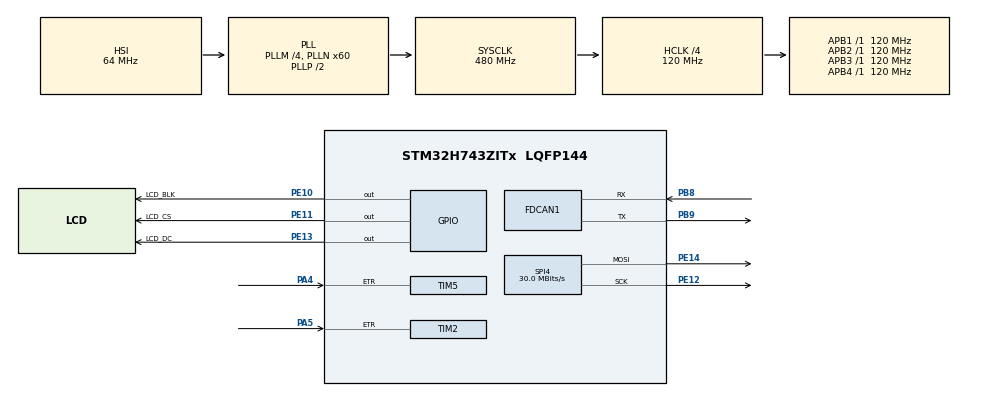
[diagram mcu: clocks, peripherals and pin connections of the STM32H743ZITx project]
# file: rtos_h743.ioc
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CORTEX_M7.Enable_Spec=__NULL
CORTEX_M7.default_mode_Activation=1
FDCAN1.AutoRetransmission=ENABLE
FDCAN1.CalculateBaudRateNominal=1000000
FDCAN1.CalculateTimeBitNominal=1000
FDCAN1.CalculateTimeQuantumNominal=12.5
FDCAN1.DataPrescaler=2
FDCAN1.DataSyncJumpWidth=4
FDCAN1.DataTimeSeg1=15
FDCAN1.DataTimeSeg2=4
FDCAN1.FrameFormat=FDCAN_FRAME_FD_BRS
FDCAN1.NominalPrescaler=1
FDCAN1.NominalSyncJumpWidth=16
FDCAN1.NominalTimeSeg1=63
FDCAN1.NominalTimeSeg2=16
FDCAN1.RxBufferSize=FDCAN_DATA_BYTES_64
FDCAN1.RxFifo0ElmtSize=FDCAN_DATA_BYTES_64
FDCAN1.RxFifo0ElmtsNbr=8
FDCAN1.RxFifo1ElmtSize=FDCAN_DATA_BYTES_64
FDCAN1.TxElmtSize=FDCAN_DATA_BYTES_64
FDCAN1.TxFifoQueueElmtsNbr=4
FREERTOS.Tasks01=defaultTask,8,256,StartDefaultTask,Default,NULL,Dynamic,NULL,NULL;CANTransmitTask,24,1024,CANTransmit,Default,NULL,Dynamic,NULL,NULL;DisplayTask,8,1024,RefreshDisplay,Default,NULL,Dynamic,NULL,NULL;IMUTask,24,512,IMURead,Default,NULL,Dynamic,NULL,NULL;SpeedometerTask,16,256,SpeedometerRead,Default,NULL,Dynamic,NULL,NULL;TachometerTask,16,256,TachometerRead,Default,NULL,Dynamic,NULL,NULL;TemperatureTask,16,256,TemperatureRead,Default,NULL,Dynamic,NULL,NULL
FREERTOS.configENABLE_FPU=1
FREERTOS.configMINIMAL_STACK_SIZE=256
FREERTOS.configTICK_RATE_HZ=1000
FREERTOS.configTOTAL_HEAP_SIZE=65536
Mcu.Family=STM32H7
Mcu.Name=STM32H743ZITx
Mcu.Package=LQFP144
NVIC.FDCAN1_IT0_IRQn=true\:5\:0\:false\:false\:true\:true\:true\:true\:true
NVIC.FDCAN1_IT1_IRQn=true\:5\:0\:false\:false\:true\:true\:true\:true\:true
NVIC.PriorityGroup=NVIC_PRIORITYGROUP_4
NVIC.TIM6_DAC_IRQn=true\:15\:0\:false\:false\:true\:false\:false\:true\:true
NVIC.TimeBase=TIM6_DAC_IRQn
NVIC.TimeBaseIP=TIM6
PA4.GPIO_PuPd=GPIO_PULLUP
PA4.Signal=S_TIM5_ETR
PA5.GPIO_PuPd=GPIO_NOPULL
PA5.Signal=S_TIM2_CH1_ETR
PB8.GPIO_PuPd=GPIO_PULLUP
PB8.GPIO_Speed=GPIO_SPEED_FREQ_VERY_HIGH
PB8.Mode=FDCAN_Activate
PB8.Signal=FDCAN1_RX
PB9.GPIO_Speed=GPIO_SPEED_FREQ_VERY_HIGH
PB9.Mode=FDCAN_Activate
PB9.Signal=FDCAN1_TX
PE10.GPIO_Label=LCD_BLK
PE10.GPIO_Speed=GPIO_SPEED_FREQ_VERY_HIGH
PE10.Signal=GPIO_Output
PE11.GPIO_Label=LCD_CS
PE11.GPIO_Speed=GPIO_SPEED_FREQ_VERY_HIGH
PE11.PinState=GPIO_PIN_RESET
PE11.Signal=GPIO_Output
PE12.GPIO_Speed=GPIO_SPEED_FREQ_VERY_HIGH
PE12.Mode=TX_Only_Simplex_Unidirect_Master
PE12.Signal=SPI4_SCK
PE13.GPIO_Label=LCD_DC
PE13.GPIO_Speed=GPIO_SPEED_FREQ_VERY_HIGH
PE13.Signal=GPIO_Output
PE14.GPIO_Speed=GPIO_SPEED_FREQ_VERY_HIGH
PE14.Mode=TX_Only_Simplex_Unidirect_Master
PE14.Signal=SPI4_MOSI
ProjectManager.HeapSize=0x200
ProjectManager.StackSize=0x400
ProjectManager.TargetToolchain=CMake
RCC.ADCFreq_Value=80000000
RCC.APB1Freq_Value=120000000
RCC.APB2Freq_Value=120000000
RCC.APB3Freq_Value=120000000
RCC.APB4Freq_Value=120000000
RCC.CortexFreq_Value=480000000
RCC.DIVM1=4
RCC.DIVM2=4
RCC.DIVN1=60
RCC.DIVN2=10
RCC.DIVQ1=8
RCC.FDCANCLockSelection=RCC_FDCANCLKSOURCE_PLL2
RCC.HCLKFreq_Value=120000000
RCC.HPRE=RCC_HCLK_DIV4
RCC.SYSCLKFreq_VALUE=480000000
RCC.SYSCLKSource=RCC_SYSCLKSOURCE_PLLCLK
RCC.USBFreq_Value=120000000
SH.S_TIM2_CH1_ETR.0=TIM2_ETR,TriggerSource_ETR
SH.S_TIM5_ETR.0=TIM5_ETR,TriggerSource_ETR
SPI4.BaudRatePrescaler=SPI_BAUDRATEPRESCALER_4
SPI4.CalculateBaudRate=30.0 MBits/s
SPI4.DataSize=SPI_DATASIZE_8BIT
SPI4.Direction=SPI_DIRECTION_2LINES_TXONLY
SPI4.Mode=SPI_MODE_MASTER
SPI4.NSSPMode=SPI_NSS_PULSE_DISABLE
SPI4.VirtualType=VM_MASTER
TIM2.Slave_TriggerFilter=15
TIM5.Slave_TriggerFilter=15
VP_FREERTOS_VS_CMSIS_V2.Mode=CMSIS_V2
VP_MEMORYMAP_VS_MEMORYMAP.Mode=CurAppReg
VP_SYS_VS_tim6.Mode=TIM6
VP_TIM2_VS_ControllerModeClock.Mode=Clock Mode
VP_TIM5_VS_ControllerModeClock.Mode=Clock Mode
board=custom

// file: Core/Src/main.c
/* USER CODE BEGIN Header */
/**
  ******************************************************************************
  * @file           : main.c
  * @brief          : Main program body
  ******************************************************************************
  * @attention
  *
  * Copyright (c) 2026 STMicroelectronics.
  * All rights reserved.
  *
  * This software is licensed under terms that can be found in the LICENSE file
  * in the root directory of this software component.
  * If no LICENSE file comes with this software, it is provided AS-IS.
  *
  ******************************************************************************
  */
/* USER CODE END Header */
#include "main.h"
#include "FreeRTOS.h"
#include "cmsis_os2.h"
#include "fdcan.h"
#include "spi.h"
#include "tim.h"
#include "gpio.h"

/* USER CODE BEGIN Includes */
#include "st7735.h"
/* USER CODE END Includes */

void SystemClock_Config(void);
static void MPU_Config(void);
void MX_FREERTOS_Init(void);

int main(void)
{

  /* MPU Configuration--------------------------------------------------------*/
  MPU_Config();

  /* MCU Configuration--------------------------------------------------------*/

  /* Reset of all peripherals, Initializes the Flash interface and the Systick. */
  HAL_Init();

  /* USER CODE BEGIN Init */

  // SystemView DWT Cycle Counter
  CoreDebug->DEMCR |= CoreDebug_DEMCR_TRCENA_Msk;
  DWT->LAR = 0xC5ACCE55;
  DWT->CYCCNT = 0;
  DWT->CTRL |= DWT_CTRL_CYCCNTENA_Msk;

  /* USER CODE END Init */

  /* Configure the system clock */
  SystemClock_Config();

  /* Initialize all configured peripherals */
  MX_GPIO_Init();
  MX_FDCAN1_Init();
  MX_SPI4_Init();
  MX_TIM5_Init();
  MX_TIM2_Init();

  /* Init scheduler */
  osKernelInitialize();  /* Call init function for freertos objects (in cmsis_os2.c) */
  MX_FREERTOS_Init();

  /* Start scheduler */
  osKernelStart();

  /* We should never get here as control is now taken by the scheduler */

  /* Infinite loop */
  while (1)
  {

  }
}

void SystemClock_Config(void)
{
  RCC_OscInitTypeDef RCC_OscInitStruct = {0};
  RCC_ClkInitTypeDef RCC_ClkInitStruct = {0};

  /** Supply configuration update enable
  */
  HAL_PWREx_ConfigSupply(PWR_LDO_SUPPLY);

  /** Configure the main internal regulator output voltage
  */
  __HAL_PWR_VOLTAGESCALING_CONFIG(PWR_REGULATOR_VOLTAGE_SCALE0);

  while(!__HAL_PWR_GET_FLAG(PWR_FLAG_VOSRDY)) {}

  /** Initializes the RCC Oscillators according to the specified parameters
  * in the RCC_OscInitTypeDef structure.
  */
  RCC_OscInitStruct.OscillatorType = RCC_OSCILLATORTYPE_HSI;
  RCC_OscInitStruct.HSIState = RCC_HSI_DIV1;
  RCC_OscInitStruct.HSICalibrationValue = RCC_HSICALIBRATION_DEFAULT;
  RCC_OscInitStruct.PLL.PLLState = RCC_PLL_ON;
  RCC_OscInitStruct.PLL.PLLSource = RCC_PLLSOURCE_HSI;
  RCC_OscInitStruct.PLL.PLLM = 4;
  RCC_OscInitStruct.PLL.PLLN = 60;
  RCC_OscInitStruct.PLL.PLLP = 2;
  RCC_OscInitStruct.PLL.PLLQ = 8;
  RCC_OscInitStruct.PLL.PLLR = 2;
  RCC_OscInitStruct.PLL.PLLRGE = RCC_PLL1VCIRANGE_3;
  RCC_OscInitStruct.PLL.PLLVCOSEL = RCC_PLL1VCOWIDE;
  RCC_OscInitStruct.PLL.PLLFRACN = 0;
  if (HAL_RCC_OscConfig(&RCC_OscInitStruct) != HAL_OK)
  {
    Error_Handler();
  }

  /** Initializes the CPU, AHB and APB buses clocks
  */
  RCC_ClkInitStruct.ClockType = RCC_CLOCKTYPE_HCLK|RCC_CLOCKTYPE_SYSCLK
                              |RCC_CLOCKTYPE_PCLK1|RCC_CLOCKTYPE_PCLK2
                              |RCC_CLOCKTYPE_D3PCLK1|RCC_CLOCKTYPE_D1PCLK1;
  RCC_ClkInitStruct.SYSCLKSource = RCC_SYSCLKSOURCE_PLLCLK;
  RCC_ClkInitStruct.SYSCLKDivider = RCC_SYSCLK_DIV1;
  RCC_ClkInitStruct.AHBCLKDivider = RCC_HCLK_DIV4;
  RCC_ClkInitStruct.APB3CLKDivider = RCC_APB3_DIV1;
  RCC_ClkInitStruct.APB1CLKDivider = RCC_APB1_DIV1;
  RCC_ClkInitStruct.APB2CLKDivider = RCC_APB2_DIV1;
  RCC_ClkInitStruct.APB4CLKDivider = RCC_APB4_DIV1;

  if (HAL_RCC_ClockConfig(&RCC_ClkInitStruct, FLASH_LATENCY_1) != HAL_OK)
  {
    Error_Handler();
  }
}

 /* MPU Configuration */

void MPU_Config(void)
{

  /* Disables the MPU */
  HAL_MPU_Disable();

  /* Enables the MPU */
  HAL_MPU_Enable(MPU_PRIVILEGED_DEFAULT);

}

void HAL_TIM_PeriodElapsedCallback(TIM_HandleTypeDef *htim)
{
  if (htim->Instance == TIM6)
  {
    HAL_IncTick();
  }
}

void Error_Handler(void)
{
  __disable_irq();
  for (;;){}
}

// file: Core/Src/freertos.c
/* USER CODE BEGIN Header */
/**
  ******************************************************************************
  * File Name          : freertos.c
  * Description        : Code for freertos applications
  ******************************************************************************
  * @attention
  *
  * Copyright (c) 2026 STMicroelectronics.
  * All rights reserved.
  *
  * This software is licensed under terms that can be found in the LICENSE file
  * in the root directory of this software component.
  * If no LICENSE file comes with this software, it is provided AS-IS.
  *
  ******************************************************************************
  */
/* USER CODE END Header */

#include "FreeRTOS.h"
#include "task.h"
#include "main.h"
#include "FreeRTOS.h"
#include "cmsis_os2.h"

/* USER CODE BEGIN Includes */
#include <string.h>
#include <math.h>
#include <stdio.h>

#include "FreeRTOSConfig.h"
#include "SEGGER_RTT.h"
#include "st7735.h"
#include "roxy.h"
#include "tim.h"
/* USER CODE END Includes */

/* USER CODE BEGIN PD */
_Static_assert(configTICK_RATE_HZ == 1000, "CAN scheduler assumes a 1 kHz tick");

#define SPEED_PULSES_PER_REV 1u
#define SPEED_WHEEL_CIRCUMFERENCE 1.963f // in meters
#define SPEED_TIMEOUT 2000u // in milliseconds
#define SPEED_SMOOTHING  300.0f

#define TACH_PULSES_PER_REV  1.0f
#define TACH_TIMEOUT         1000u     // in milliseconds
#define TACH_SMOOTHING       150.0f
#define TACH_MAX_RPM         20000.0f
/* USER CODE END PD */

/* USER CODE BEGIN Variables */
extern FDCAN_HandleTypeDef hfdcan1;

static struct roxy_rear_fast_t   g_fast;
static struct roxy_rear_medium_t g_medium;
static struct roxy_rear_slow_t   g_slow;

static FDCAN_TxHeaderTypeDef g_txHdr = {
  .IdType              = FDCAN_STANDARD_ID,
  .TxFrameType         = FDCAN_DATA_FRAME,
  .ErrorStateIndicator = FDCAN_ESI_ACTIVE,
  .BitRateSwitch       = FDCAN_BRS_ON,
  .FDFormat            = FDCAN_FD_CAN,
  .TxEventFifoControl  = FDCAN_NO_TX_EVENTS,
  .MessageMarker       = 0
};

volatile float speed;
volatile float rpm;
/* USER CODE END Variables */
/* Definitions for defaultTask */
osThreadId_t defaultTaskHandle;
const osThreadAttr_t defaultTask_attributes = {
  .name = "defaultTask",
  .stack_size = 256 * 4,
  .priority = (osPriority_t) osPriorityLow,
};
/* Definitions for CANTransmitTask */
osThreadId_t CANTransmitTaskHandle;
const osThreadAttr_t CANTransmitTask_attributes = {
  .name = "CANTransmitTask",
  .stack_size = 1024 * 4,
  .priority = (osPriority_t) osPriorityNormal,
};
/* Definitions for DisplayTask */
osThreadId_t DisplayTaskHandle;
const osThreadAttr_t DisplayTask_attributes = {
  .name = "DisplayTask",
  .stack_size = 1024 * 4,
  .priority = (osPriority_t) osPriorityLow,
};
/* Definitions for IMUTask */
osThreadId_t IMUTaskHandle;
const osThreadAttr_t IMUTask_attributes = {
  .name = "IMUTask",
  .stack_size = 512 * 4,
  .priority = (osPriority_t) osPriorityNormal,
};
/* Definitions for SpeedometerTask */
osThreadId_t SpeedometerTaskHandle;
const osThreadAttr_t SpeedometerTask_attributes = {
  .name = "SpeedometerTask",
  .stack_size = 256 * 4,
  .priority = (osPriority_t) osPriorityBelowNormal,
};
/* Definitions for TachometerTask */
osThreadId_t TachometerTaskHandle;
const osThreadAttr_t TachometerTask_attributes = {
  .name = "TachometerTask",
  .stack_size = 256 * 4,
  .priority = (osPriority_t) osPriorityBelowNormal,
};
/* Definitions for TemperatureTask */
osThreadId_t TemperatureTaskHandle;
const osThreadAttr_t TemperatureTask_attributes = {
  .name = "TemperatureTask",
  .stack_size = 256 * 4,
  .priority = (osPriority_t) osPriorityBelowNormal,
};

/* USER CODE BEGIN FunctionPrototypes */
static void     Roxy_Copy(void *dst, const void *src, size_t n);
static void     CAN_Tx(uint32_t id, const uint8_t *buf, int len, int idx);
static uint32_t len_to_dlc(uint8_t n);
static float    wave(float t, float hz, float phase);
static void fake_imu(int16_t *ax, int16_t *ay, int16_t *az,
                     int16_t *gx, int16_t *gy, int16_t *gz, float t, float phase,
                     int imu_select);
void Roxy_UpdateFast(const struct roxy_rear_fast_t *s);
void Roxy_UpdateSlow(const struct roxy_rear_slow_t *s);
void Roxy_SetSpeedometer(uint16_t raw);
void Roxy_SetTachometer(uint16_t raw);

static float smooth(float current, float target, float dt_ms, float tau_ms);
/* USER CODE END FunctionPrototypes */

void StartDefaultTask(void *argument);
void CANTransmit(void *argument);
void RefreshDisplay(void *argument);
void IMURead(void *argument);
void SpeedometerRead(void *argument);
void TachometerRead(void *argument);
void TemperatureRead(void *argument);

void MX_FREERTOS_Init(void); /* (MISRA C 2004 rule 8.1) */

void MX_FREERTOS_Init(void) {
  /* USER CODE BEGIN Init */

  // SystemView Init
  SEGGER_SYSVIEW_Conf();

  /* USER CODE END Init */

  /* Create the thread(s) */
  /* creation of defaultTask */
  defaultTaskHandle = osThreadNew(StartDefaultTask, NULL, &defaultTask_attributes);

  /* creation of CANTransmitTask */
  CANTransmitTaskHandle = osThreadNew(CANTransmit, NULL, &CANTransmitTask_attributes);

  /* creation of DisplayTask */
  DisplayTaskHandle = osThreadNew(RefreshDisplay, NULL, &DisplayTask_attributes);

  /* creation of IMUTask */
  IMUTaskHandle = osThreadNew(IMURead, NULL, &IMUTask_attributes);

  /* creation of SpeedometerTask */
  SpeedometerTaskHandle = osThreadNew(SpeedometerRead, NULL, &SpeedometerTask_attributes);

  /* creation of TachometerTask */
  TachometerTaskHandle = osThreadNew(TachometerRead, NULL, &TachometerTask_attributes);

  /* creation of TemperatureTask */
  TemperatureTaskHandle = osThreadNew(TemperatureRead, NULL, &TemperatureTask_attributes);

}

void StartDefaultTask(void *argument)
{
  /* USER CODE BEGIN StartDefaultTask */

  // SystemView Start
  CoreDebug->DEMCR |= CoreDebug_DEMCR_TRCENA_Msk; // Enable Trace
  DWT->CYCCNT = 0;                                // Reset Cycle Counter
  DWT->CTRL |= DWT_CTRL_CYCCNTENA_Msk;

  SEGGER_SYSVIEW_Start();

  /* Infinite loop */
  for(;;)
  {
    osDelay(100);
  }
  /* USER CODE END StartDefaultTask */
}

void CANTransmit(void *argument)
{
  /* USER CODE BEGIN CANTransmit */
  HAL_FDCAN_ConfigTxDelayCompensation(&hfdcan1,
        hfdcan1.Init.DataPrescaler * hfdcan1.Init.DataTimeSeg1, 0);
  HAL_FDCAN_EnableTxDelayCompensation(&hfdcan1);
  HAL_FDCAN_Start(&hfdcan1);

  uint8_t payload[64] = {0};
  struct roxy_rear_fast_t   fast;
  struct roxy_rear_medium_t medium;
  struct roxy_rear_slow_t   slow;
  uint32_t tick = osKernelGetTickCount();

  for (uint32_t slot = 0;; slot = (slot + 1) % 100)
  {
    osDelayUntil(++tick);

    Roxy_Copy(&fast, &g_fast, sizeof fast);
    CAN_Tx(ROXY_REAR_FAST_FRAME_ID, payload,
           roxy_rear_fast_pack(payload, &fast, sizeof payload), 0);

    if (slot % 10 == 0) {
      Roxy_Copy(&medium, &g_medium, sizeof medium);
      CAN_Tx(ROXY_REAR_MEDIUM_FRAME_ID, payload,
             roxy_rear_medium_pack(payload, &medium, sizeof payload), 1);
    }

    if (slot == 1) {
      Roxy_Copy(&slow, &g_slow, sizeof slow);
      CAN_Tx(ROXY_REAR_SLOW_FRAME_ID, payload,
             roxy_rear_slow_pack(payload, &slow, sizeof payload), 2);
    }
  }
  /* USER CODE END CANTransmit */
}

void RefreshDisplay(void *argument)
{
  /* USER CODE BEGIN RefreshDisplay */
  // Init Display
  HAL_GPIO_WritePin(LCD_BLK_GPIO_Port, LCD_BLK_Pin, GPIO_PIN_RESET);
  ST7735_Init();
  ST7735_FillScreen(ST7735_BLACK);

  char buf[16];
  /* Infinite loop */
  for(;;)
  {
    snprintf(buf, sizeof buf, "%4u km/h", (unsigned)(speed + 0.5f));
    ST7735_WriteString(8, 8, buf, Font_16x26, ST7735_WHITE, ST7735_BLACK);
    snprintf(buf, sizeof buf, "%4u rpm", (unsigned)(rpm + 0.5f));
    ST7735_WriteString(8, 42, buf, Font_16x26, ST7735_WHITE, ST7735_BLACK);
    osDelay(100);
  }
  /* USER CODE END RefreshDisplay */
}

void IMURead(void *argument)
{
  /* USER CODE BEGIN IMURead */
  struct roxy_rear_fast_t s = {0};
  uint32_t tick = osKernelGetTickCount();
  for (;;)
  {
    osDelayUntil(++tick);
    float t = (float)tick * 0.001f;

    fake_imu(&s.accel_x_l, &s.accel_y_l, &s.accel_z_l,
             &s.gyro_x_l,  &s.gyro_y_l,  &s.gyro_z_l, t, 0.0f, 0);
    fake_imu(&s.accel_x_r, &s.accel_y_r, &s.accel_z_r,
             &s.gyro_x_r,  &s.gyro_y_r,  &s.gyro_z_r, t, 1.0f, 1);
    fake_imu(&s.accel_x_c, &s.accel_y_c, &s.accel_z_c,
             &s.gyro_x_c,  &s.gyro_y_c,  &s.gyro_z_c, t, 2.0f, 2);

    Roxy_UpdateFast(&s);
  }
  /* USER CODE END IMURead */
}

void SpeedometerRead(void *argument)
{
  /* USER CODE BEGIN SpeedometerRead */
  HAL_TIM_Base_Start(&htim5);

  uint32_t last_count = __HAL_TIM_GET_COUNTER(&htim5);
  uint32_t last_ms    = osKernelGetTickCount();
  float   kph      = 0.0f;
  float   smoothed = 0.0f;
  float   out      = 0.0f;
  uint8_t have_ref = 0;
  uint32_t prev_ms = osKernelGetTickCount();

  for (;;)
  {
    osDelay(1);

    uint32_t now = osKernelGetTickCount();
    uint32_t count = __HAL_TIM_GET_COUNTER(&htim5);
    uint32_t change   = count - last_count;

    if (change) {
      if (have_ref) {
        float hz = (float)change * 1000.0f / (float)(now - last_ms);
        smoothed = hz * 0.2f + smoothed * 0.8f;
        kph = smoothed / SPEED_PULSES_PER_REV * SPEED_WHEEL_CIRCUMFERENCE * 3.6f;
        if (kph > 150.0f) kph = 150.0f;
      }
      have_ref   = 1;
      last_count = count;
      last_ms    = now;
    } else if (now - last_ms > SPEED_TIMEOUT) {
      kph = 0.0f;
      smoothed = 0.0f;
      have_ref = 0;
    }

    out = smooth(out, kph, (float)(now - prev_ms), SPEED_SMOOTHING);
    prev_ms = now;

    speed = out;
    Roxy_SetSpeedometer(roxy_rear_medium_speedometer_encode(out));
  }
  /* USER CODE END SpeedometerRead */
}

void TachometerRead(void *argument)
{
  /* USER CODE BEGIN TachometerRead */
  HAL_TIM_Base_Start(&htim2);

  uint32_t last_count = __HAL_TIM_GET_COUNTER(&htim2);
  uint32_t last_ms    = osKernelGetTickCount();
  float    target     = 0.0f;
  float    smoothed   = 0.0f;
  float    out        = 0.0f;
  uint8_t  have_ref   = 0;
  uint32_t prev_ms    = osKernelGetTickCount();

  for (;;)
  {
    osDelay(1);

    uint32_t now = osKernelGetTickCount();
    uint32_t count = __HAL_TIM_GET_COUNTER(&htim2);
    uint32_t change   = count - last_count;

    if (change) {
      if (have_ref) {
        float hz = (float)change * 1000.0f / (float)(now - last_ms);
        smoothed = hz * 0.2f + smoothed * 0.8f;
        target   = smoothed * 60.0f / TACH_PULSES_PER_REV;
        if (target > TACH_MAX_RPM) target = TACH_MAX_RPM;
      }
      have_ref   = 1;
      last_count = count;
      last_ms    = now;
    } else if (now - last_ms > TACH_TIMEOUT) {
      target   = 0.0f;
      smoothed = 0.0f;
      have_ref = 0;
    }

    out = smooth(out, target, (float)(now - prev_ms), TACH_SMOOTHING);
    prev_ms = now;

    rpm = out;
    Roxy_SetTachometer(roxy_rear_medium_tachometer_encode(out));
  }
  /* USER CODE END TachometerRead */
}

void TemperatureRead(void *argument)
{
  /* USER CODE BEGIN TemperatureRead */
  struct roxy_rear_slow_t s = {0};
  uint32_t tick = osKernelGetTickCount();
  for (;;)
  {
    tick += 100;
    osDelayUntil(tick);
    float t = (float)tick * 0.001f;
    s.obj_temp = roxy_rear_slow_obj_temp_encode(70.0f + 50.0f * wave(t, 0.05f, 0.0f));
    s.amb_temp = roxy_rear_slow_amb_temp_encode(30.0f + 10.0f * wave(t, 0.03f, 0.0f));
    Roxy_UpdateSlow(&s);
  }
  /* USER CODE END TemperatureRead */
}

/* USER CODE BEGIN Application */

static void Roxy_Copy(void *dst, const void *src, size_t n)
{ taskENTER_CRITICAL(); memcpy(dst, src, n); taskEXIT_CRITICAL(); }

void Roxy_UpdateFast(const struct roxy_rear_fast_t *s)
{ Roxy_Copy(&g_fast, s, sizeof g_fast); }

void Roxy_UpdateSlow(const struct roxy_rear_slow_t *s)
{ Roxy_Copy(&g_slow, s, sizeof g_slow); }

void Roxy_SetSpeedometer(uint16_t raw)
{ taskENTER_CRITICAL(); g_medium.speedometer = raw; taskEXIT_CRITICAL(); }

void Roxy_SetTachometer(uint16_t raw)
{ taskENTER_CRITICAL(); g_medium.tachometer = raw; taskEXIT_CRITICAL(); }

static void CAN_Tx(uint32_t id, const uint8_t *buf, int len, int idx)
{
  if (len > 0) {
    g_txHdr.Identifier = id;
    g_txHdr.DataLength = len_to_dlc((uint8_t)len);
    if (HAL_FDCAN_GetTxFifoFreeLevel(&hfdcan1) > 0 &&
        HAL_FDCAN_AddMessageToTxFifoQ(&hfdcan1, &g_txHdr, (uint8_t *)buf) == HAL_OK)
      return;
  }
}

static uint32_t len_to_dlc(uint8_t n)
{
  static const uint32_t small[9] = {
    FDCAN_DLC_BYTES_0, FDCAN_DLC_BYTES_1, FDCAN_DLC_BYTES_2,
    FDCAN_DLC_BYTES_3, FDCAN_DLC_BYTES_4, FDCAN_DLC_BYTES_5,
    FDCAN_DLC_BYTES_6, FDCAN_DLC_BYTES_7, FDCAN_DLC_BYTES_8
  };
  if (n <= 8)  return small[n];
  if (n <= 12) return FDCAN_DLC_BYTES_12;
  if (n <= 16) return FDCAN_DLC_BYTES_16;
  if (n <= 20) return FDCAN_DLC_BYTES_20;
  if (n <= 24) return FDCAN_DLC_BYTES_24;
  if (n <= 32) return FDCAN_DLC_BYTES_32;
  if (n <= 48) return FDCAN_DLC_BYTES_48;
  return FDCAN_DLC_BYTES_64;
}

static float smooth(float current, float target, float dt_ms, float tau_ms)
{
  float alpha = 1.0f - expf(-dt_ms / tau_ms);
  return current + alpha * (target - current);
}

// Fake Data examples
static float wave(float t, float hz, float phase)
{ return sinf(6.2831853f * hz * t + phase); }

static void fake_imu(int16_t *ax, int16_t *ay, int16_t *az,
                     int16_t *gx, int16_t *gy, int16_t *gz, float t, float phase,
                     int imu_select) // 0=l, 1=r, 2=c
{
  if (imu_select == 0) {
    *ax = roxy_rear_fast_accel_x_l_encode(0.5f * wave(t, 1.0f, phase));
    *ay = roxy_rear_fast_accel_y_l_encode(0.5f * wave(t, 1.5f, phase));
    *az = roxy_rear_fast_accel_z_l_encode(1.0f + 0.2f * wave(t, 2.0f, phase));
    *gx = roxy_rear_fast_gyro_x_l_encode(100.0f * wave(t, 0.5f, phase));
    *gy = roxy_rear_fast_gyro_y_l_encode(100.0f * wave(t, 0.7f, phase));
    *gz = roxy_rear_fast_gyro_z_l_encode(100.0f * wave(t, 0.9f, phase));
  } else if (imu_select == 1) {
    *ax = roxy_rear_fast_accel_x_r_encode(0.5f * wave(t, 1.0f, phase));
    *ay = roxy_rear_fast_accel_y_r_encode(0.5f * wave(t, 1.5f, phase));
    *az = roxy_rear_fast_accel_z_r_encode(1.0f + 0.2f * wave(t, 2.0f, phase));
    *gx = roxy_rear_fast_gyro_x_r_encode(100.0f * wave(t, 0.5f, phase));
    *gy = roxy_rear_fast_gyro_y_r_encode(100.0f * wave(t, 0.7f, phase));
    *gz = roxy_rear_fast_gyro_z_r_encode(100.0f * wave(t, 0.9f, phase));
  } else {
    *ax = roxy_rear_fast_accel_x_c_encode(0.5f * wave(t, 1.0f, phase));
    *ay = roxy_rear_fast_accel_y_c_encode(0.5f * wave(t, 1.5f, phase));
    *az = roxy_rear_fast_accel_z_c_encode(1.0f + 0.2f * wave(t, 2.0f, phase));
    *gx = roxy_rear_fast_gyro_x_c_encode(100.0f * wave(t, 0.5f, phase));
    *gy = roxy_rear_fast_gyro_y_c_encode(100.0f * wave(t, 0.7f, phase));
    *gz = roxy_rear_fast_gyro_z_c_encode(100.0f * wave(t, 0.9f, phase));
  }
}
/* USER CODE END Application */
